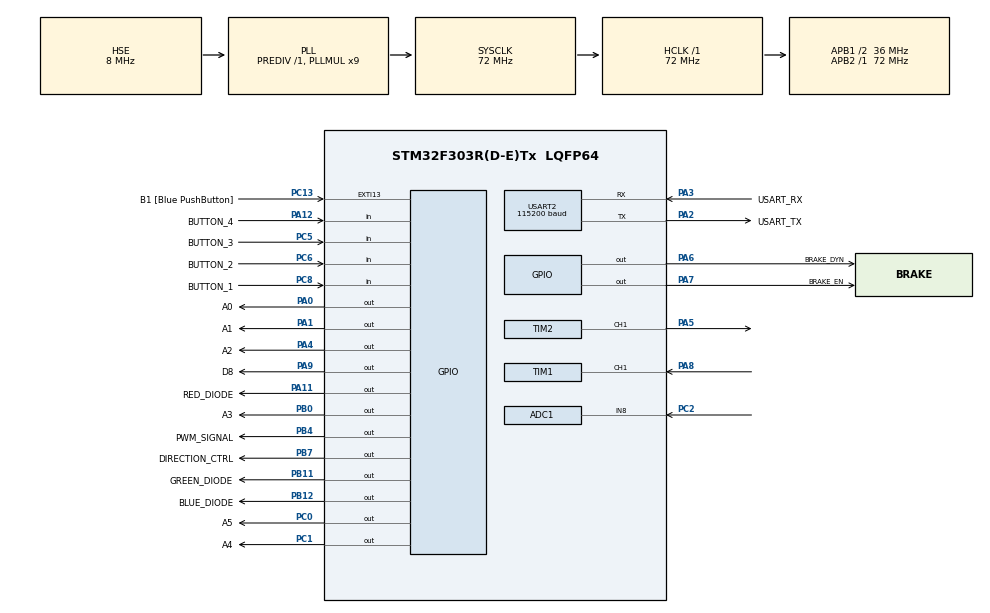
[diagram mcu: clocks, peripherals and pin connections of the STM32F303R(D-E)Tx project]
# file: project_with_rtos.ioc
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ADC1.Channel-0\#ChannelRegularConversion=ADC_CHANNEL_8
ADC1.NbrOfConversionFlag=1
ADC1.Offset-0\#ChannelRegularConversion=0
ADC1.OffsetNumber-0\#ChannelRegularConversion=ADC_OFFSET_NONE
ADC1.Rank-0\#ChannelRegularConversion=1
ADC1.SamplingTime-0\#ChannelRegularConversion=ADC_SAMPLETIME_1CYCLE_5
ADC1.SamplingTimeOPAMP-0\#ChannelRegularConversion=ADC_SAMPLETIME_61CYCLES_5
ADC1.master=1
Dma.ADC1.0.Direction=DMA_PERIPH_TO_MEMORY
Dma.ADC1.0.Instance=DMA1_Channel1
Dma.ADC1.0.MemDataAlignment=DMA_MDATAALIGN_HALFWORD
Dma.ADC1.0.MemInc=DMA_MINC_ENABLE
Dma.ADC1.0.Mode=DMA_CIRCULAR
Dma.ADC1.0.PeriphDataAlignment=DMA_PDATAALIGN_HALFWORD
Dma.ADC1.0.PeriphInc=DMA_PINC_DISABLE
Dma.ADC1.0.Priority=DMA_PRIORITY_VERY_HIGH
Dma.Request0=ADC1
Dma.Request1=USART2_RX
Dma.USART2_RX.1.Direction=DMA_PERIPH_TO_MEMORY
Dma.USART2_RX.1.Instance=DMA1_Channel6
Dma.USART2_RX.1.MemDataAlignment=DMA_MDATAALIGN_BYTE
Dma.USART2_RX.1.MemInc=DMA_MINC_ENABLE
Dma.USART2_RX.1.Mode=DMA_NORMAL
Dma.USART2_RX.1.PeriphDataAlignment=DMA_PDATAALIGN_BYTE
Dma.USART2_RX.1.PeriphInc=DMA_PINC_DISABLE
Dma.USART2_RX.1.Priority=DMA_PRIORITY_LOW
FREERTOS.Tasks01=freq_measure,41,128,start_freq_meas,Default,NULL,Dynamic,NULL,NULL;motor_control,50,128,start_motor_control,Default,NULL,Dynamic,NULL,NULL;lcd_text,55,128,start_lcd_work,Default,NULL,Dynamic,NULL,NULL;diode_control,8,128,start_diode_contr,Default,NULL,Dynamic,NULL,NULL
FREERTOS.configTIMER_TASK_PRIORITY=6
FREERTOS.configUSE_NEWLIB_REENTRANT=1
FREERTOS.configUSE_TIMERS=1
Mcu.Family=STM32F3
Mcu.Name=STM32F303R(D-E)Tx
Mcu.Package=LQFP64
NVIC.ADC1_2_IRQn=true\:5\:0\:false\:false\:true\:true\:true\:true\:true
NVIC.DMA1_Channel1_IRQn=true\:5\:0\:false\:false\:true\:true\:false\:true\:true
NVIC.DMA1_Channel6_IRQn=true\:5\:0\:false\:false\:true\:true\:false\:true\:true
NVIC.PriorityGroup=NVIC_PRIORITYGROUP_4
NVIC.TIM6_DAC_IRQn=true\:15\:0\:false\:false\:true\:false\:false\:true\:true
NVIC.TimeBase=TIM6_DAC_IRQn
NVIC.TimeBaseIP=TIM6
NVIC.USART2_IRQn=true\:5\:0\:false\:false\:true\:true\:true\:true\:true
PA0.GPIO_Label=A0
PA0.Signal=GPIO_Output
PA1.GPIO_Label=A1
PA1.Signal=GPIO_Output
PA11.GPIO_Label=RED_DIODE
PA11.Signal=GPIO_Output
PA12.GPIO_Label=BUTTON_4
PA12.Signal=GPIO_Input
PA13.GPIO_Label=TMS
PA13.Mode=Serial_Wire
PA13.Signal=SYS_JTMS-SWDIO
PA14.GPIO_Label=TCK
PA14.Mode=Serial_Wire
PA14.Signal=SYS_JTCK-SWCLK
PA2.GPIO_Label=USART_TX
PA2.GPIO_Mode=GPIO_MODE_AF_PP
PA2.GPIO_PuPd=GPIO_NOPULL
PA2.GPIO_Speed=GPIO_SPEED_FREQ_LOW
PA2.Mode=Asynchronous
PA2.Signal=USART2_TX
PA3.GPIO_Label=USART_RX
PA3.GPIO_Mode=GPIO_MODE_AF_PP
PA3.GPIO_PuPd=GPIO_NOPULL
PA3.GPIO_Speed=GPIO_SPEED_FREQ_LOW
PA3.Mode=Asynchronous
PA3.Signal=USART2_RX
PA4.GPIO_Label=A2
PA4.Signal=GPIO_Output
PA5.GPIO_Speed=GPIO_SPEED_FREQ_HIGH
PA5.Signal=S_TIM2_CH1_ETR
PA6.GPIO_Label=BRAKE_DYN
PA6.GPIO_ModeDefaultOutputPP=GPIO_MODE_OUTPUT_OD
PA6.GPIO_PuPd=GPIO_NOPULL
PA6.Signal=GPIO_Output
PA7.GPIO_Label=BRAKE_EN
PA7.GPIO_ModeDefaultOutputPP=GPIO_MODE_OUTPUT_OD
PA7.GPIO_PuPd=GPIO_NOPULL
PA7.Signal=GPIO_Output
PA8.Signal=S_TIM1_CH1
PA9.GPIO_Label=D8
PA9.Signal=GPIO_Output
PB0.GPIO_Label=A3
PB0.Signal=GPIO_Output
PB11.GPIO_Label=GREEN_DIODE
PB11.Signal=GPIO_Output
PB12.GPIO_Label=BLUE_DIODE
PB12.Signal=GPIO_Output
PB3.GPIO_Label=SWO
PB3.Signal=SYS_JTDO-TRACESWO
PB4.GPIO_Label=PWM_SIGNAL
PB4.Signal=GPIO_Output
PB7.GPIO_FM7=SYSCFG_CFGR1_I2C_PB7_FMP
PB7.GPIO_Label=DIRECTION_CTRL
PB7.GPIO_ModeDefaultOutputPP=GPIO_MODE_OUTPUT_OD
PB7.GPIO_PuPd=GPIO_NOPULL
PB7.Signal=GPIO_Output
PC0.GPIO_Label=A5
PC0.Signal=GPIO_Output
PC1.GPIO_Label=A4
PC1.Signal=GPIO_Output
PC13.GPIO_Label=B1 [Blue PushButton]
PC13.GPIO_ModeDefaultEXTI=GPIO_MODE_IT_FALLING
PC13.Signal=GPXTI13
PC14-OSC32_IN.Signal=RCC_OSC32_IN
PC15-OSC32_OUT.Signal=RCC_OSC32_OUT
PC2.Signal=ADCx_IN8
PC5.GPIO_Label=BUTTON_3
PC5.Signal=GPIO_Input
PC6.GPIO_Label=BUTTON_2
PC6.Signal=GPIO_Input
PC8.GPIO_Label=BUTTON_1
PC8.Signal=GPIO_Input
PF0-OSC_IN.Mode=HSE-External-Oscillator
PF0-OSC_IN.Signal=RCC_OSC_IN
PF1-OSC_OUT.Mode=HSE-External-Oscillator
PF1-OSC_OUT.Signal=RCC_OSC_OUT
ProjectManager.HeapSize=0x200
ProjectManager.StackSize=0x400
ProjectManager.TargetToolchain=STM32CubeIDE
RCC.AHBFreq_Value=72000000
RCC.APB1CLKDivider=RCC_HCLK_DIV2
RCC.APB1Freq_Value=36000000
RCC.APB1TimFreq_Value=72000000
RCC.APB2Freq_Value=72000000
RCC.APB2TimFreq_Value=72000000
RCC.CortexFreq_Value=72000000
RCC.HCLKFreq_Value=72000000
RCC.HSE_VALUE=8000000
RCC.HSI_VALUE=8000000
RCC.LSE_VALUE=32768
RCC.PLLM=8
RCC.PLLMUL=RCC_PLL_MUL9
RCC.PLLN=336
RCC.PLLP=RCC_PLLP_DIV4
RCC.PLLQ=7
RCC.PLLSourceVirtual=RCC_PLLSOURCE_HSE
RCC.RCC_PLLsource_Clock_Source_FROM_HSE=RCC_HSE_PREDIV_DIV2
RCC.SYSCLKFreq_VALUE=72000000
RCC.SYSCLKSourceVirtual=RCC_SYSCLKSOURCE_PLLCLK
RCC.USBFreq_Value=72000000
SH.ADCx_IN8.0=ADC1_IN8,IN8-Single-Ended
SH.S_TIM1_CH1.0=TIM1_CH1,PWM_Input_1
SH.S_TIM2_CH1_ETR.0=TIM2_CH1,PWM Generation1 CH1
TIM16.AutoReloadPreload=TIM_AUTORELOAD_PRELOAD_DISABLE
TIM16.Period=65535
TIM16.Prescaler=71
TIM2.AutoReloadPreload=TIM_AUTORELOAD_PRELOAD_ENABLE
TIM2.Channel-PWM\ Generation1\ CH1=TIM_CHANNEL_1
TIM2.Period=999
TIM2.Prescaler=71
TIM2.Pulse-PWM\ Generation1\ CH1=32
TIM3.Period=65534
TIM3.Prescaler=71
USART2.BaudRate=115200
USART2.Mode=MODE_TX_RX
USART2.VirtualMode-Asynchronous=VM_ASYNC
VP_FREERTOS_VS_CMSIS_V2.Mode=CMSIS_V2
VP_SYS_VS_tim6.Mode=TIM6
VP_TIM16_VS_ClockSourceINT.Mode=Enable_Timer
VP_TIM2_VS_ClockSourceINT.Mode=Internal
VP_TIM3_VS_ClockSourceINT.Mode=Internal
VP_TIM8_VS_ClockSourceINT.Mode=Internal
board=NUCLEO-F303RE

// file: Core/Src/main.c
/* USER CODE BEGIN Header */
/**
  ******************************************************************************
  * @file           : main.c
  * @brief          : Main program body
  ******************************************************************************
  * @attention
  *
  * Copyright (c) 2024 STMicroelectronics.
  * All rights reserved.
  *
  * This software is licensed under terms that can be found in the LICENSE file
  * in the root directory of this software component.
  * If no LICENSE file comes with this software, it is provided AS-IS.
  *
  ******************************************************************************
  */
/* USER CODE END Header */
#include "main.h"
#include "cmsis_os.h"

/* USER CODE BEGIN Includes */
#include "LCD1602.h"
#include "aio.h"
#include<stdio.h>
#include <math.h>
#include <stdint.h>

/* USER CODE END Includes */

ADC_HandleTypeDef hadc1;
DMA_HandleTypeDef hdma_adc1;

TIM_HandleTypeDef htim1;
TIM_HandleTypeDef htim2;
TIM_HandleTypeDef htim3;
TIM_HandleTypeDef htim8;
TIM_HandleTypeDef htim16;

UART_HandleTypeDef huart2;
DMA_HandleTypeDef hdma_usart2_rx;

/* Definitions for freq_measure */
osThreadId_t freq_measureHandle;
const osThreadAttr_t freq_measure_attributes = {
  .name = "freq_measure",
  .stack_size = 128 * 4,
  .priority = (osPriority_t) osPriorityHigh1,
};
/* Definitions for motor_control */
osThreadId_t motor_controlHandle;
const osThreadAttr_t motor_control_attributes = {
  .name = "motor_control",
  .stack_size = 128 * 4,
  .priority = (osPriority_t) osPriorityRealtime2,
};
/* Definitions for lcd_text */
osThreadId_t lcd_textHandle;
const osThreadAttr_t lcd_text_attributes = {
  .name = "lcd_text",
  .stack_size = 128 * 4,
  .priority = (osPriority_t) osPriorityRealtime7,
};
/* Definitions for diode_control */
osThreadId_t diode_controlHandle;
const osThreadAttr_t diode_control_attributes = {
  .name = "diode_control",
  .stack_size = 128 * 4,
  .priority = (osPriority_t) osPriorityLow,
};
/* USER CODE BEGIN PV */

int pot1_mV = 0;
int pot1_mV_filtered = 0;
int previous_value = 0;
int previous_value2 = 0;
uint16_t prev_period = 0;
uint16_t freq = 0;
//float freq = 0;
uint16_t cur_period = 0;
//uint16_t vel = 0;
uint16_t vel = 0;
int count_to_clear_lcd = 0;
int ref_vel = 300; //wartosc referencyjna  - JAK NIE DZIALA ZMIENIC NA FLOAT!!!!!!!!!
int pwm_level = 400;
int brake_dyn = 1;
int en_brake = 0;
int direction = 0;
int ref_vel_from_key = 0;
int change_refvel_key = 0;
int was_clicked=0;

int was_reached = 0;

char uart_buf[50];
int uart_buf_len;
char led_buf[50];
int led_buf_len;
HAL_StatusTypeDef uart2_received_status;
//uint8_t single_message_received[] = {0};
uint8_t single_message_received[11];
char single_message_response[30]={0};
uint16_t timer_val = 0;
int change_operation = 0;
int time_acc = 0;

int row=0;
int col=0;

int pwm_control_count = 0;

/* USER CODE END PV */

void SystemClock_Config(void);
static void MX_GPIO_Init(void);
static void MX_DMA_Init(void);
static void MX_USART2_UART_Init(void);
static void MX_TIM3_Init(void);
static void MX_ADC1_Init(void);
static void MX_TIM8_Init(void);
static void MX_TIM16_Init(void);
static void MX_TIM2_Init(void);
static void MX_TIM1_Init(void);
void start_freq_meas(void *argument);
void start_motor_control(void *argument);
void start_lcd_work(void *argument);
void start_diode_contr(void *argument);

/* USER CODE BEGIN 0 */

void HAL_UART_RxCpltCallback(UART_HandleTypeDef *huart)
{
	HAL_UART_Receive_DMA(&huart2, single_message_received, 11);
	char *charTable = (char *)malloc(10 * sizeof(char));
	sscanf((char*)single_message_received,"%c%c%c%c%c%c%c%c%c%c;",&charTable[0],&charTable[1],&charTable[2],&charTable[3],&charTable[4],&charTable[5],&charTable[6],&charTable[7],&charTable[8],&charTable[9]);
	if((charTable[0] == 'S') & (charTable[1] == 'T') & (charTable[2] == 'A') & (charTable[3] == 'R') & (charTable[4] == 'T') & (charTable[5] == 'M') & (charTable[6] == 'O') & (charTable[7] == 'T') & (charTable[8] == 'O') & (charTable[9] == 'R'))
	{
		brake_dyn = 0;
		en_brake = 0;
		sprintf(single_message_response, "Silnik zalaczony!\r\n");
		HAL_UART_Transmit(&huart2, (uint8_t*)single_message_response, strlen(single_message_response), 50000);
	}
	if((charTable[0] == 'B') & (charTable[1] == 'R') & (charTable[2] == 'A') & (charTable[3] == 'K') & (charTable[4] == 'E') & (charTable[5] == '_') & (charTable[6] == 'D') & (charTable[7] == 'N') & (charTable[8] == 'M') & (charTable[9] == 'C'))
	{
		brake_dyn = 1;
		en_brake = 0;
		sprintf(single_message_response, "Hamowanie dynamiczne!\r\n");
    	HAL_UART_Transmit(&huart2, (uint8_t*)single_message_response, strlen(single_message_response), 50000);

	}
	if((charTable[0] == 'C') & (charTable[1] == 'O') & (charTable[2] == 'N') & (charTable[3] == 'T') & (charTable[4] == 'R') & (charTable[5] == '_') & (charTable[6] == 'S') & (charTable[7] == 'T') & (charTable[8] == 'O') & (charTable[9] == 'P'))
	{
		en_brake = 1;
		brake_dyn = 0;
		sprintf(single_message_response, "Aktywne hamowanie!\r\n");
    	HAL_UART_Transmit(&huart2, (uint8_t*)single_message_response, strlen(single_message_response), 50000);
	}
	if((charTable[0] == 'V') & (charTable[1] == 'E') & (charTable[2] == 'L') & (charTable[3] == ':') & (charTable[8] == ';') & (charTable[9] == ';'))
	{
		int num1int = charTable[4] - 48;
		int num2int = charTable[5] - 48;
		int num3int = charTable[6] - 48;
		int num4int = charTable[7] - 48;
//		int ref_vel_local = 0;
		ref_vel = num1int*1000 + num2int*100 + num3int*10 + num4int*1;
//		ref_vel = ref_vel_local;
		sprintf(single_message_response, "Nowa predkosc: %i RPM\r\n",ref_vel);
    	HAL_UART_Transmit(&huart2, (uint8_t*)single_message_response, strlen(single_message_response), 50000);
	}
	if((charTable[0] == 'D') & (charTable[1] == 'I') & (charTable[2] == 'R') & (charTable[3] == '_') & (charTable[4] == 'C') & (charTable[5] == 'L') & (charTable[6] == 'K') & (charTable[7] == 'W') & (charTable[8] == 'I') & (charTable[9] == 'S'))
	{
		direction = 0;
		sprintf(single_message_response, "Zmiana kierunku\r\n");
		HAL_UART_Transmit(&huart2, (uint8_t*)single_message_response, strlen(single_message_response), 50000);
	}
	if((charTable[0] == 'D') & (charTable[1] == 'I') & (charTable[2] == 'R') & (charTable[3] == '_') & (charTable[4] == 'C') & (charTable[5] == 'N') & (charTable[6] == 'T') & (charTable[7] == 'R') & (charTable[8] == 'C') & (charTable[9] == 'L'))
	{
		direction = 1;
		sprintf(single_message_response, "Zmiana kierunku\r\n");
		HAL_UART_Transmit(&huart2, (uint8_t*)single_message_response, strlen(single_message_response), 50000);
	}
	if((charTable[0] == 'S') & (charTable[1] == 'E') & (charTable[2] == 'T') & (charTable[3] == '_') & (charTable[4] == 'R') & (charTable[5] == 'E') & (charTable[6] == 'F') & (charTable[7] == 'V') & (charTable[8] == 'E') & (charTable[9] == 'L'))
	{
		change_refvel_key = 1;
		sprintf(single_message_response, "Ustawianie predkosci\r\n");
		HAL_UART_Transmit(&huart2, (uint8_t*)single_message_response, strlen(single_message_response), 50000);
	}
}

/* USER CODE END 0 */

int main(void)
{

  /* MCU Configuration--------------------------------------------------------*/

  /* Reset of all peripherals, Initializes the Flash interface and the Systick. */
  HAL_Init();

  /* Configure the system clock */
  SystemClock_Config();

  /* Initialize all configured peripherals */
  MX_GPIO_Init();
  MX_DMA_Init();
  MX_USART2_UART_Init();
  MX_TIM3_Init();
  MX_ADC1_Init();
  MX_TIM8_Init();
  MX_TIM16_Init();
  MX_TIM2_Init();
  MX_TIM1_Init();
  /* USER CODE BEGIN 2 */

  HAL_TIM_Base_Start(&htim3);
  HAL_TIM_Base_Start(&htim16);
  HAL_TIM_Base_Start(&htim8);

  //lcd_init ();

  //pwm_level = 1000.0;

  HAL_TIM_PWM_Start(&htim2, TIM_CHANNEL_1);

   if(brake_dyn == 0)
   {
 	  //HAL_TIM_PWM_Start(&htim2, TIM_CHANNEL_1);
 	  __HAL_TIM_SET_COMPARE(&htim2, TIM_CHANNEL_1, 1000.0-pwm_level); //wypelnienie
   }
   else if(brake_dyn == 1)
   {
 	  __HAL_TIM_SET_COMPARE(&htim2, TIM_CHANNEL_1, 1000.0);
 	  HAL_GPIO_WritePin(BRAKE_DYN_GPIO_Port, BRAKE_DYN_Pin, GPIO_PIN_SET);
   }

//   UART_StartReception_IT();

   HAL_UART_Receive_DMA(&huart2, single_message_received, 11);

  /* USER CODE END 2 */

  /* Init scheduler */
  osKernelInitialize();

  /* Create the thread(s) */
  /* creation of freq_measure */
  freq_measureHandle = osThreadNew(start_freq_meas, NULL, &freq_measure_attributes);

  /* creation of motor_control */
  motor_controlHandle = osThreadNew(start_motor_control, NULL, &motor_control_attributes);

  /* creation of lcd_text */
  lcd_textHandle = osThreadNew(start_lcd_work, NULL, &lcd_text_attributes);

  /* creation of diode_control */
  diode_controlHandle = osThreadNew(start_diode_contr, NULL, &diode_control_attributes);

  /* Start scheduler */
  osKernelStart();

  /* We should never get here as control is now taken by the scheduler */

  /* Infinite loop */
  while (1)
  {

  }
}

void SystemClock_Config(void)
{
  RCC_OscInitTypeDef RCC_OscInitStruct = {0};
  RCC_ClkInitTypeDef RCC_ClkInitStruct = {0};
  RCC_PeriphCLKInitTypeDef PeriphClkInit = {0};

  /** Initializes the RCC Oscillators according to the specified parameters
  * in the RCC_OscInitTypeDef structure.
  */
  RCC_OscInitStruct.OscillatorType = RCC_OSCILLATORTYPE_HSE;
  RCC_OscInitStruct.HSEState = RCC_HSE_ON;
  RCC_OscInitStruct.HSIState = RCC_HSI_ON;
  RCC_OscInitStruct.PLL.PLLState = RCC_PLL_ON;
  RCC_OscInitStruct.PLL.PLLSource = RCC_PLLSOURCE_HSE;
  RCC_OscInitStruct.PLL.PLLMUL = RCC_PLL_MUL9;
  RCC_OscInitStruct.PLL.PREDIV = RCC_PREDIV_DIV1;
  if (HAL_RCC_OscConfig(&RCC_OscInitStruct) != HAL_OK)
  {
    Error_Handler();
  }

  /** Initializes the CPU, AHB and APB buses clocks
  */
  RCC_ClkInitStruct.ClockType = RCC_CLOCKTYPE_HCLK|RCC_CLOCKTYPE_SYSCLK
                              |RCC_CLOCKTYPE_PCLK1|RCC_CLOCKTYPE_PCLK2;
  RCC_ClkInitStruct.SYSCLKSource = RCC_SYSCLKSOURCE_PLLCLK;
  RCC_ClkInitStruct.AHBCLKDivider = RCC_SYSCLK_DIV1;
  RCC_ClkInitStruct.APB1CLKDivider = RCC_HCLK_DIV2;
  RCC_ClkInitStruct.APB2CLKDivider = RCC_HCLK_DIV1;

  if (HAL_RCC_ClockConfig(&RCC_ClkInitStruct, FLASH_LATENCY_2) != HAL_OK)
  {
    Error_Handler();
  }
  PeriphClkInit.PeriphClockSelection = RCC_PERIPHCLK_USART2|RCC_PERIPHCLK_TIM1
                              |RCC_PERIPHCLK_TIM16|RCC_PERIPHCLK_TIM8
                              |RCC_PERIPHCLK_ADC12|RCC_PERIPHCLK_TIM2
                              |RCC_PERIPHCLK_TIM34;
  PeriphClkInit.Usart2ClockSelection = RCC_USART2CLKSOURCE_PCLK1;
  PeriphClkInit.Adc12ClockSelection = RCC_ADC12PLLCLK_DIV1;
  PeriphClkInit.Tim1ClockSelection = RCC_TIM1CLK_HCLK;
  PeriphClkInit.Tim16ClockSelection = RCC_TIM16CLK_HCLK;
  PeriphClkInit.Tim8ClockSelection = RCC_TIM8CLK_HCLK;
  PeriphClkInit.Tim2ClockSelection = RCC_TIM2CLK_HCLK;
  PeriphClkInit.Tim34ClockSelection = RCC_TIM34CLK_HCLK;
  if (HAL_RCCEx_PeriphCLKConfig(&PeriphClkInit) != HAL_OK)
  {
    Error_Handler();
  }
}

static void MX_ADC1_Init(void)
{

  ADC_MultiModeTypeDef multimode = {0};
  ADC_ChannelConfTypeDef sConfig = {0};

  /** Common config
  */
  hadc1.Instance = ADC1;
  hadc1.Init.ClockPrescaler = ADC_CLOCK_ASYNC_DIV1;
  hadc1.Init.Resolution = ADC_RESOLUTION_12B;
  hadc1.Init.ScanConvMode = ADC_SCAN_DISABLE;
  hadc1.Init.ContinuousConvMode = DISABLE;
  hadc1.Init.DiscontinuousConvMode = DISABLE;
  hadc1.Init.ExternalTrigConvEdge = ADC_EXTERNALTRIGCONVEDGE_NONE;
  hadc1.Init.ExternalTrigConv = ADC_SOFTWARE_START;
  hadc1.Init.DataAlign = ADC_DATAALIGN_RIGHT;
  hadc1.Init.NbrOfConversion = 1;
  hadc1.Init.DMAContinuousRequests = DISABLE;
  hadc1.Init.EOCSelection = ADC_EOC_SINGLE_CONV;
  hadc1.Init.LowPowerAutoWait = DISABLE;
  hadc1.Init.Overrun = ADC_OVR_DATA_OVERWRITTEN;
  if (HAL_ADC_Init(&hadc1) != HAL_OK)
  {
    Error_Handler();
  }

  /** Configure the ADC multi-mode
  */
  multimode.Mode = ADC_MODE_INDEPENDENT;
  if (HAL_ADCEx_MultiModeConfigChannel(&hadc1, &multimode) != HAL_OK)
  {
    Error_Handler();
  }

  /** Configure Regular Channel
  */
  sConfig.Channel = ADC_CHANNEL_8;
  sConfig.Rank = ADC_REGULAR_RANK_1;
  sConfig.SingleDiff = ADC_SINGLE_ENDED;
  sConfig.SamplingTime = ADC_SAMPLETIME_1CYCLE_5;
  sConfig.OffsetNumber = ADC_OFFSET_NONE;
  sConfig.Offset = 0;
  if (HAL_ADC_ConfigChannel(&hadc1, &sConfig) != HAL_OK)
  {
    Error_Handler();
  }

}

static void MX_TIM1_Init(void)
{

  TIM_SlaveConfigTypeDef sSlaveConfig = {0};
  TIM_IC_InitTypeDef sConfigIC = {0};
  TIM_MasterConfigTypeDef sMasterConfig = {0};

  htim1.Instance = TIM1;
  htim1.Init.Prescaler = 0;
  htim1.Init.CounterMode = TIM_COUNTERMODE_UP;
  htim1.Init.Period = 65535;
  htim1.Init.ClockDivision = TIM_CLOCKDIVISION_DIV1;
  htim1.Init.RepetitionCounter = 0;
  htim1.Init.AutoReloadPreload = TIM_AUTORELOAD_PRELOAD_DISABLE;
  if (HAL_TIM_IC_Init(&htim1) != HAL_OK)
  {
    Error_Handler();
  }
  sSlaveConfig.SlaveMode = TIM_SLAVEMODE_RESET;
  sSlaveConfig.InputTrigger = TIM_TS_TI1FP1;
  sSlaveConfig.TriggerPolarity = TIM_INPUTCHANNELPOLARITY_RISING;
  sSlaveConfig.TriggerPrescaler = TIM_ICPSC_DIV1;
  sSlaveConfig.TriggerFilter = 0;
  if (HAL_TIM_SlaveConfigSynchro(&htim1, &sSlaveConfig) != HAL_OK)
  {
    Error_Handler();
  }
  sConfigIC.ICPolarity = TIM_INPUTCHANNELPOLARITY_RISING;
  sConfigIC.ICSelection = TIM_ICSELECTION_DIRECTTI;
  sConfigIC.ICPrescaler = TIM_ICPSC_DIV1;
  sConfigIC.ICFilter = 0;
  if (HAL_TIM_IC_ConfigChannel(&htim1, &sConfigIC, TIM_CHANNEL_1) != HAL_OK)
  {
    Error_Handler();
  }
  sConfigIC.ICPolarity = TIM_INPUTCHANNELPOLARITY_FALLING;
  sConfigIC.ICSelection = TIM_ICSELECTION_INDIRECTTI;
  if (HAL_TIM_IC_ConfigChannel(&htim1, &sConfigIC, TIM_CHANNEL_2) != HAL_OK)
  {
    Error_Handler();
  }
  sMasterConfig.MasterOutputTrigger = TIM_TRGO_RESET;
  sMasterConfig.MasterOutputTrigger2 = TIM_TRGO2_RESET;
  sMasterConfig.MasterSlaveMode = TIM_MASTERSLAVEMODE_DISABLE;
  if (HAL_TIMEx_MasterConfigSynchronization(&htim1, &sMasterConfig) != HAL_OK)
  {
    Error_Handler();
  }

}

static void MX_TIM2_Init(void)
{

  TIM_ClockConfigTypeDef sClockSourceConfig = {0};
  TIM_MasterConfigTypeDef sMasterConfig = {0};
  TIM_OC_InitTypeDef sConfigOC = {0};

  htim2.Instance = TIM2;
  htim2.Init.Prescaler = 71;
  htim2.Init.CounterMode = TIM_COUNTERMODE_UP;
  htim2.Init.Period = 999;
  htim2.Init.ClockDivision = TIM_CLOCKDIVISION_DIV1;
  htim2.Init.AutoReloadPreload = TIM_AUTORELOAD_PRELOAD_ENABLE;
  if (HAL_TIM_Base_Init(&htim2) != HAL_OK)
  {
    Error_Handler();
  }
  sClockSourceConfig.ClockSource = TIM_CLOCKSOURCE_INTERNAL;
  if (HAL_TIM_ConfigClockSource(&htim2, &sClockSourceConfig) != HAL_OK)
  {
    Error_Handler();
  }
  if (HAL_TIM_PWM_Init(&htim2) != HAL_OK)
  {
    Error_Handler();
  }
  sMasterConfig.MasterOutputTrigger = TIM_TRGO_RESET;
  sMasterConfig.MasterSlaveMode = TIM_MASTERSLAVEMODE_DISABLE;
  if (HAL_TIMEx_MasterConfigSynchronization(&htim2, &sMasterConfig) != HAL_OK)
  {
    Error_Handler();
  }
  sConfigOC.OCMode = TIM_OCMODE_PWM1;
  sConfigOC.Pulse = 32;
  sConfigOC.OCPolarity = TIM_OCPOLARITY_HIGH;
  sConfigOC.OCFastMode = TIM_OCFAST_DISABLE;
  if (HAL_TIM_PWM_ConfigChannel(&htim2, &sConfigOC, TIM_CHANNEL_1) != HAL_OK)
  {
    Error_Handler();
  }
  HAL_TIM_MspPostInit(&htim2);

}

static void MX_TIM3_Init(void)
{

  TIM_ClockConfigTypeDef sClockSourceConfig = {0};
  TIM_MasterConfigTypeDef sMasterConfig = {0};

  htim3.Instance = TIM3;
  htim3.Init.Prescaler = 71;
  htim3.Init.CounterMode = TIM_COUNTERMODE_UP;
  htim3.Init.Period = 65534;
  htim3.Init.ClockDivision = TIM_CLOCKDIVISION_DIV1;
  htim3.Init.AutoReloadPreload = TIM_AUTORELOAD_PRELOAD_DISABLE;
  if (HAL_TIM_Base_Init(&htim3) != HAL_OK)
  {
    Error_Handler();
  }
  sClockSourceConfig.ClockSource = TIM_CLOCKSOURCE_INTERNAL;
  if (HAL_TIM_ConfigClockSource(&htim3, &sClockSourceConfig) != HAL_OK)
  {
    Error_Handler();
  }
  sMasterConfig.MasterOutputTrigger = TIM_TRGO_RESET;
  sMasterConfig.MasterSlaveMode = TIM_MASTERSLAVEMODE_DISABLE;
  if (HAL_TIMEx_MasterConfigSynchronization(&htim3, &sMasterConfig) != HAL_OK)
  {
    Error_Handler();
  }

}

static void MX_TIM8_Init(void)
{

  TIM_ClockConfigTypeDef sClockSourceConfig = {0};
  TIM_MasterConfigTypeDef sMasterConfig = {0};

  htim8.Instance = TIM8;
  htim8.Init.Prescaler = 0;
  htim8.Init.CounterMode = TIM_COUNTERMODE_UP;
  htim8.Init.Period = 65535;
  htim8.Init.ClockDivision = TIM_CLOCKDIVISION_DIV1;
  htim8.Init.RepetitionCounter = 0;
  htim8.Init.AutoReloadPreload = TIM_AUTORELOAD_PRELOAD_DISABLE;
  if (HAL_TIM_Base_Init(&htim8) != HAL_OK)
  {
    Error_Handler();
  }
  sClockSourceConfig.ClockSource = TIM_CLOCKSOURCE_INTERNAL;
  if (HAL_TIM_ConfigClockSource(&htim8, &sClockSourceConfig) != HAL_OK)
  {
    Error_Handler();
  }
  sMasterConfig.MasterOutputTrigger = TIM_TRGO_RESET;
  sMasterConfig.MasterOutputTrigger2 = TIM_TRGO2_RESET;
  sMasterConfig.MasterSlaveMode = TIM_MASTERSLAVEMODE_DISABLE;
  if (HAL_TIMEx_MasterConfigSynchronization(&htim8, &sMasterConfig) != HAL_OK)
  {
    Error_Handler();
  }

}

static void MX_TIM16_Init(void)
{

  htim16.Instance = TIM16;
  htim16.Init.Prescaler = 71;
  htim16.Init.CounterMode = TIM_COUNTERMODE_UP;
  htim16.Init.Period = 65535;
  htim16.Init.ClockDivision = TIM_CLOCKDIVISION_DIV1;
  htim16.Init.RepetitionCounter = 0;
  htim16.Init.AutoReloadPreload = TIM_AUTORELOAD_PRELOAD_DISABLE;
  if (HAL_TIM_Base_Init(&htim16) != HAL_OK)
  {
    Error_Handler();
  }

}

static void MX_USART2_UART_Init(void)
{

  huart2.Instance = USART2;
  huart2.Init.BaudRate = 115200;
  huart2.Init.WordLength = UART_WORDLENGTH_8B;
  huart2.Init.StopBits = UART_STOPBITS_1;
  huart2.Init.Parity = UART_PARITY_NONE;
  huart2.Init.Mode = UART_MODE_TX_RX;
  huart2.Init.HwFlowCtl = UART_HWCONTROL_NONE;
  huart2.Init.OverSampling = UART_OVERSAMPLING_16;
  huart2.Init.OneBitSampling = UART_ONE_BIT_SAMPLE_DISABLE;
  huart2.AdvancedInit.AdvFeatureInit = UART_ADVFEATURE_NO_INIT;
  if (HAL_UART_Init(&huart2) != HAL_OK)
  {
    Error_Handler();
  }

}

static void MX_DMA_Init(void)
{

  /* DMA controller clock enable */
  __HAL_RCC_DMA1_CLK_ENABLE();

  /* DMA interrupt init */
  /* DMA1_Channel1_IRQn interrupt configuration */
  HAL_NVIC_SetPriority(DMA1_Channel1_IRQn, 5, 0);
  HAL_NVIC_EnableIRQ(DMA1_Channel1_IRQn);
  /* DMA1_Channel6_IRQn interrupt configuration */
  HAL_NVIC_SetPriority(DMA1_Channel6_IRQn, 5, 0);
  HAL_NVIC_EnableIRQ(DMA1_Channel6_IRQn);

}

static void MX_GPIO_Init(void)
{
  GPIO_InitTypeDef GPIO_InitStruct = {0};

  /* GPIO Ports Clock Enable */
  __HAL_RCC_GPIOC_CLK_ENABLE();
  __HAL_RCC_GPIOF_CLK_ENABLE();
  __HAL_RCC_GPIOA_CLK_ENABLE();
  __HAL_RCC_GPIOB_CLK_ENABLE();

  /*Configure GPIO pin Output Level */
  HAL_GPIO_WritePin(GPIOC, A5_Pin|A4_Pin, GPIO_PIN_RESET);

  /*Configure GPIO pin Output Level */
  HAL_GPIO_WritePin(GPIOA, A0_Pin|A1_Pin|A2_Pin|BRAKE_DYN_Pin
                          |BRAKE_EN_Pin|D8_Pin|RED_DIODE_Pin, GPIO_PIN_RESET);

  /*Configure GPIO pin Output Level */
  HAL_GPIO_WritePin(GPIOB, A3_Pin|GREEN_DIODE_Pin|BLUE_DIODE_Pin|PWM_SIGNAL_Pin
                          |DIRECTION_CTRL_Pin, GPIO_PIN_RESET);

  /*Configure GPIO pin : B1_Pin */
  GPIO_InitStruct.Pin = B1_Pin;
  GPIO_InitStruct.Mode = GPIO_MODE_IT_FALLING;
  GPIO_InitStruct.Pull = GPIO_NOPULL;
  HAL_GPIO_Init(B1_GPIO_Port, &GPIO_InitStruct);

  /*Configure GPIO pins : A5_Pin A4_Pin */
  GPIO_InitStruct.Pin = A5_Pin|A4_Pin;
  GPIO_InitStruct.Mode = GPIO_MODE_OUTPUT_PP;
  GPIO_InitStruct.Pull = GPIO_NOPULL;
  GPIO_InitStruct.Speed = GPIO_SPEED_FREQ_LOW;
  HAL_GPIO_Init(GPIOC, &GPIO_InitStruct);

  /*Configure GPIO pins : A0_Pin A1_Pin A2_Pin D8_Pin
                           RED_DIODE_Pin */
  GPIO_InitStruct.Pin = A0_Pin|A1_Pin|A2_Pin|D8_Pin
                          |RED_DIODE_Pin;
  GPIO_InitStruct.Mode = GPIO_MODE_OUTPUT_PP;
  GPIO_InitStruct.Pull = GPIO_NOPULL;
  GPIO_InitStruct.Speed = GPIO_SPEED_FREQ_LOW;
  HAL_GPIO_Init(GPIOA, &GPIO_InitStruct);

  /*Configure GPIO pins : BRAKE_DYN_Pin BRAKE_EN_Pin */
  GPIO_InitStruct.Pin = BRAKE_DYN_Pin|BRAKE_EN_Pin;
  GPIO_InitStruct.Mode = GPIO_MODE_OUTPUT_OD;
  GPIO_InitStruct.Pull = GPIO_NOPULL;
  GPIO_InitStruct.Speed = GPIO_SPEED_FREQ_LOW;
  HAL_GPIO_Init(GPIOA, &GPIO_InitStruct);

  /*Configure GPIO pins : BUTTON_3_Pin BUTTON_2_Pin BUTTON_1_Pin */
  GPIO_InitStruct.Pin = BUTTON_3_Pin|BUTTON_2_Pin|BUTTON_1_Pin;
  GPIO_InitStruct.Mode = GPIO_MODE_INPUT;
  GPIO_InitStruct.Pull = GPIO_NOPULL;
  HAL_GPIO_Init(GPIOC, &GPIO_InitStruct);

  /*Configure GPIO pins : A3_Pin GREEN_DIODE_Pin BLUE_DIODE_Pin PWM_SIGNAL_Pin */
  GPIO_InitStruct.Pin = A3_Pin|GREEN_DIODE_Pin|BLUE_DIODE_Pin|PWM_SIGNAL_Pin;
  GPIO_InitStruct.Mode = GPIO_MODE_OUTPUT_PP;
  GPIO_InitStruct.Pull = GPIO_NOPULL;
  GPIO_InitStruct.Speed = GPIO_SPEED_FREQ_LOW;
  HAL_GPIO_Init(GPIOB, &GPIO_InitStruct);

  /*Configure GPIO pin : BUTTON_4_Pin */
  GPIO_InitStruct.Pin = BUTTON_4_Pin;
  GPIO_InitStruct.Mode = GPIO_MODE_INPUT;
  GPIO_InitStruct.Pull = GPIO_NOPULL;
  HAL_GPIO_Init(BUTTON_4_GPIO_Port, &GPIO_InitStruct);

  /*Configure GPIO pin : DIRECTION_CTRL_Pin */
  GPIO_InitStruct.Pin = DIRECTION_CTRL_Pin;
  GPIO_InitStruct.Mode = GPIO_MODE_OUTPUT_OD;
  GPIO_InitStruct.Pull = GPIO_NOPULL;
  GPIO_InitStruct.Speed = GPIO_SPEED_FREQ_LOW;
  HAL_GPIO_Init(DIRECTION_CTRL_GPIO_Port, &GPIO_InitStruct);

  /**/
  HAL_I2CEx_EnableFastModePlus(SYSCFG_CFGR1_I2C_PB7_FMP);

}

void start_freq_meas(void *argument)
{
  /* USER CODE BEGIN 5 */
  /* Infinite loop */
  for(;;)
  {
	  HAL_ADC_Start(&hadc1);

	  if(HAL_ADC_PollForConversion(&hadc1, ADC1_TIMEOUT) == HAL_OK)
	  {
		  pot1_mV = ADC_REG2VOLTAGE(HAL_ADC_GetValue(&hadc1));
			if((was_reached == 0) & (pot1_mV > 2800)) //2500
			{
				was_reached = 1;
			}

			if((was_reached == 1) & (pot1_mV < 100) & (previous_value < 100))
			{
				was_reached = 0;
				if(change_operation == 0)
				{
					timer_val = __HAL_TIM_GET_COUNTER(&htim16);
					change_operation = 1;
				}
				else if(change_operation == 1)
				{
					timer_val = __HAL_TIM_GET_COUNTER(&htim16) - timer_val;
					change_operation = 0;
					cur_period = timer_val;
					freq = 1000000/cur_period;
					vel = freq*60/4;
					osDelay(1);
				}
			}
	  }
  }
  /* USER CODE END 5 */
}

void start_motor_control(void *argument)
{
  /* USER CODE BEGIN start_motor_control */
  /* Infinite loop */
  for(;;)
  {
	  if(brake_dyn == 1)
	  {
		  HAL_GPIO_WritePin(BRAKE_DYN_GPIO_Port, BRAKE_DYN_Pin, GPIO_PIN_SET);
		  HAL_GPIO_WritePin(BRAKE_EN_GPIO_Port, BRAKE_EN_Pin, GPIO_PIN_RESET);
		  __HAL_TIM_SET_COMPARE(&htim2, TIM_CHANNEL_1, 1000.0-0.0);
		  timer_val = 0;
	  }
	  else if(en_brake == 1)
	  {
		  HAL_GPIO_WritePin(BRAKE_DYN_GPIO_Port, BRAKE_DYN_Pin, GPIO_PIN_RESET);
		  HAL_GPIO_WritePin(BRAKE_EN_GPIO_Port, BRAKE_EN_Pin, GPIO_PIN_SET);
		  __HAL_TIM_SET_COMPARE(&htim2, TIM_CHANNEL_1, 1000.0-0.0);
		  timer_val = 0;
	  }
	  else if((brake_dyn == 0) & (en_brake == 0))
	  {
		  HAL_GPIO_WritePin(BRAKE_DYN_GPIO_Port, BRAKE_DYN_Pin, GPIO_PIN_RESET);
		  HAL_GPIO_WritePin(BRAKE_EN_GPIO_Port, BRAKE_EN_Pin, GPIO_PIN_RESET);

		  if(vel <= ref_vel)
		  {
			  pwm_level = pwm_level + 1;
		  }
		  else if(vel > ref_vel)
		  {
			  pwm_level = pwm_level - 1;
		  }

		  __HAL_TIM_SET_COMPARE(&htim2, TIM_CHANNEL_1, 1000.0-pwm_level);

		  if(fabs(ref_vel-vel) > 260.0)
		  {
			  osDelay(10);
		  }
		  else if((fabs(ref_vel-vel) <= 260.0) & (fabs(ref_vel-vel) > 70.0))
		  {
			  osDelay(40);
		  }
		  else if(fabs(ref_vel-vel) <= 70.0)
		  {
			  osDelay(500);
		  }
	  }

	  if(direction == 0)
	  {
		  HAL_GPIO_WritePin(DIRECTION_CTRL_GPIO_Port, DIRECTION_CTRL_Pin, GPIO_PIN_RESET);
	  }
	  else if(direction == 1)
	  {
		  HAL_GPIO_WritePin(DIRECTION_CTRL_GPIO_Port, DIRECTION_CTRL_Pin, GPIO_PIN_SET);
	  }
  }
  /* USER CODE END start_motor_control */
}

void start_lcd_work(void *argument)
{
  /* USER CODE BEGIN start_lcd_work */
	lcd_init();
  /* Infinite loop */
  for(;;)
  {
	  if((brake_dyn == 1) & (change_refvel_key == 0))
	  {
		  lcd_clear();
		  lcd_put_cur(0, 0);
		  lcd_send_string("HAMOWANIE");
		  lcd_put_cur(1, 0);
		  lcd_send_string("DYNAMICZNE!");
		  osDelay(10);
	  }
	  else if((en_brake == 1) & (change_refvel_key == 0))
	  {
		  lcd_clear();
		  lcd_put_cur(0, 0);
		  lcd_send_string("HAMOWANIE");
		  lcd_put_cur(1, 0);
		  lcd_send_string("AKTYWNE!");
		  osDelay(10);
	  }
	  else if((brake_dyn == 0) & (en_brake == 0) & (change_refvel_key == 0))
	  {
			lcd_clear();
			lcd_put_cur(0, 0);
			lcd_send_string("Predkosc:");
//			vel = freq*60/4;
			uart_buf_len = sprintf(led_buf, "%uRPM",vel);
			lcd_send_string(led_buf);
			lcd_put_cur(1, 0);
			uart_buf_len = sprintf(led_buf, "PWM:%d ",pwm_level/10);
			lcd_send_string(led_buf);
			uart_buf_len = sprintf(led_buf, "Ref.:%i",ref_vel);
			lcd_send_string(led_buf);
			osDelay(750);
	  }
	  else if(change_refvel_key == 1)
	  {
		  lcd_clear();
		  lcd_put_cur(0, 0);
		  lcd_send_string("Obecna pr. ref.:");
		  lcd_put_cur(1, 0);
		  uart_buf_len = sprintf(led_buf, "%iRPM",ref_vel_from_key);
		  lcd_send_string(led_buf);

		  if((HAL_GPIO_ReadPin(BUTTON_1_GPIO_Port, BUTTON_1_Pin) == GPIO_PIN_RESET) & (was_clicked == 0))
		  {
			  ref_vel_from_key = ref_vel_from_key + 1;
			  was_clicked = 1;
		  }
		  else if((HAL_GPIO_ReadPin(BUTTON_2_GPIO_Port, BUTTON_2_Pin) == GPIO_PIN_RESET) & (was_clicked == 0))
		  {
			  ref_vel_from_key = ref_vel_from_key + 50;
			  was_clicked = 1;
		  }
		  else if((HAL_GPIO_ReadPin(BUTTON_3_GPIO_Port, BUTTON_3_Pin) == GPIO_PIN_RESET) & (was_clicked == 0))
		  {
			  ref_vel_from_key = ref_vel_from_key - 20;
			  was_clicked = 1;
		  }
		  else if(HAL_GPIO_ReadPin(BUTTON_4_GPIO_Port, BUTTON_4_Pin) == GPIO_PIN_RESET)
		  {
			  ref_vel = ref_vel_from_key;
			  change_refvel_key = 0;
		  }
		  else
		  {
			  was_clicked = 0;
		  }

		  osDelay(100);
	  }
  }
  /* USER CODE END start_lcd_work */
}

void start_diode_contr(void *argument)
{
  /* USER CODE BEGIN start_diode_contr */
  /* Infinite loop */
  for(;;)
  {
	  if((vel < 1000) & (brake_dyn == 0) & (en_brake == 0))
	  {
		  HAL_GPIO_WritePin(RED_DIODE_GPIO_Port, RED_DIODE_Pin, GPIO_PIN_SET);
		  HAL_GPIO_WritePin(BLUE_DIODE_GPIO_Port, BLUE_DIODE_Pin, GPIO_PIN_RESET);
		  HAL_GPIO_WritePin(GREEN_DIODE_GPIO_Port, GREEN_DIODE_Pin, GPIO_PIN_RESET);
	  }
	  else if((vel >= 1000) & (vel < 2500) & (brake_dyn == 0) & (en_brake == 0))
	  {
		  HAL_GPIO_WritePin(RED_DIODE_GPIO_Port, RED_DIODE_Pin, GPIO_PIN_SET);
		  HAL_GPIO_WritePin(BLUE_DIODE_GPIO_Port, BLUE_DIODE_Pin, GPIO_PIN_SET);
		  HAL_GPIO_WritePin(GREEN_DIODE_GPIO_Port, GREEN_DIODE_Pin, GPIO_PIN_RESET);
	  }
	  else if((vel >= 2500) & (brake_dyn == 0) & (en_brake == 0))
	  {
		  HAL_GPIO_WritePin(RED_DIODE_GPIO_Port, RED_DIODE_Pin, GPIO_PIN_SET);
		  HAL_GPIO_WritePin(BLUE_DIODE_GPIO_Port, BLUE_DIODE_Pin, GPIO_PIN_SET);
		  HAL_GPIO_WritePin(GREEN_DIODE_GPIO_Port, GREEN_DIODE_Pin, GPIO_PIN_SET);
	  }
	  else if((brake_dyn == 1) || (en_brake == 1))
	  {
		  HAL_GPIO_WritePin(RED_DIODE_GPIO_Port, RED_DIODE_Pin, GPIO_PIN_RESET);
		  HAL_GPIO_WritePin(BLUE_DIODE_GPIO_Port, BLUE_DIODE_Pin, GPIO_PIN_RESET);
		  HAL_GPIO_WritePin(GREEN_DIODE_GPIO_Port, GREEN_DIODE_Pin, GPIO_PIN_RESET);
	  }
    osDelay(1);
  }
  /* USER CODE END start_diode_contr */
}

void HAL_TIM_PeriodElapsedCallback(TIM_HandleTypeDef *htim)
{
  if (htim->Instance == TIM6) {
    HAL_IncTick();
  }
}

void Error_Handler(void)
{
  __disable_irq();
  while (1)
  {
  }
}
